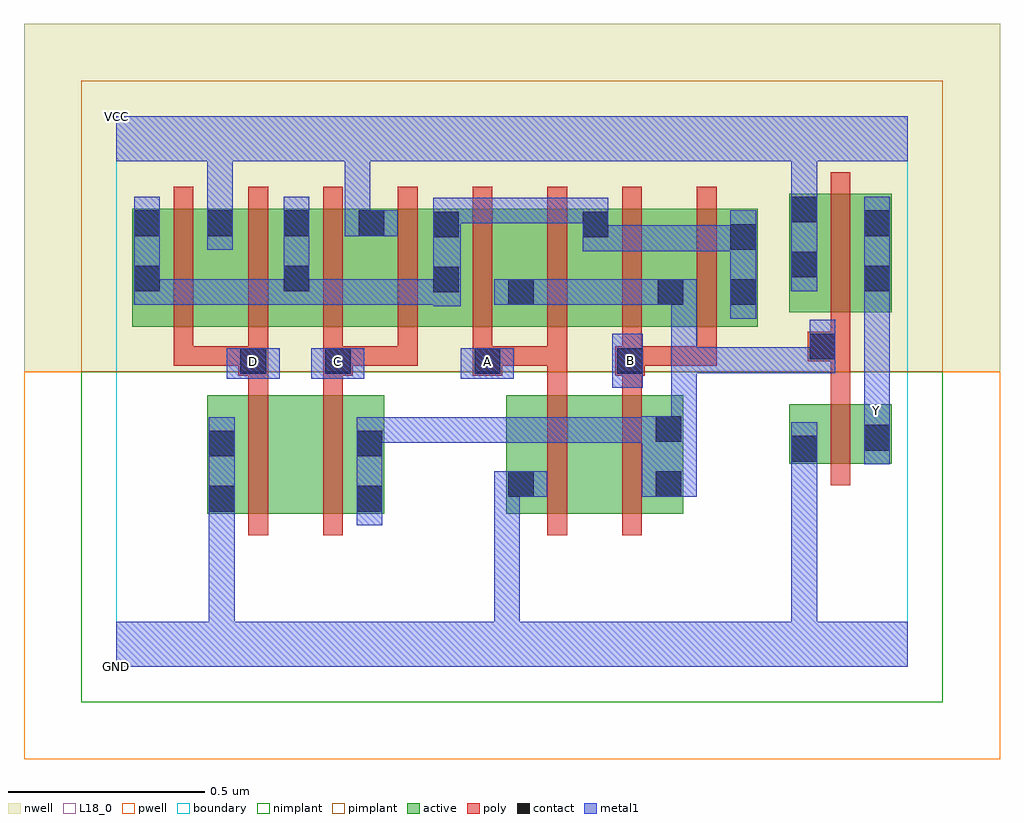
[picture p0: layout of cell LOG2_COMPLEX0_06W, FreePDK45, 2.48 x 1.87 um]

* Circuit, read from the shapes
.subckt LOG2_COMPLEX0_06W A B C D GND VCC Y
M1 n1 D GND VSUBS nfet w=0.3u l=0.05u
M2 n2 C n1 VSUBS nfet w=0.3u l=0.05u
M3 n3 A GND VSUBS nfet w=0.3u l=0.05u
M4 n2 B n3 VSUBS nfet w=0.3u l=0.05u
M5 Y n2 GND VSUBS nfet w=0.15u l=0.05u
M6 VCC D n4 n5 pfet w=0.3u l=0.05u m=2
M7 VCC C n4 n5 pfet w=0.3u l=0.05u m=2
M8 n2 A n4 n5 pfet w=0.3u l=0.05u m=2
M9 n2 B n4 n5 pfet w=0.3u l=0.05u m=2
M10 Y n2 VCC n5 pfet w=0.3u l=0.05u
.ends

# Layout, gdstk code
import gdstk
lib = gdstk.Library(unit=1e-6, precision=1e-09)
def R(c, l, rs):  # rectangles x0, y0, x1, y1
    for r in rs: c.add(gdstk.rectangle(r[:2], r[2:], *l))
def A(c, l, x, y, w, h, nx, ny, dx, dy):  # array of equal rectangles
    R(c, l, [(x+i*dx, y+j*dy, x+i*dx+w, y+j*dy+h) for i in range(nx) for j in range(ny)])
active = (1, 0)
pwell = (2, 0)
nwell = (3, 0)
nimplant = (4, 0)
pimplant = (5, 0)
poly = (9, 0)
contact = (10, 0)
metal1 = (11, 0)
L18_0 = (18, 0)
boundary = (235, 0)

log2_complex0_06w = lib.new_cell('LOG2_COMPLEX0_06W')
A(log2_complex0_06w, active, 0.42, 0.865, 0.265, 0.3, 5, 1, 0.19, 0)
R(log2_complex0_06w, active, [(0.23,0.39,0.455,0.69), (0.23,0.39,0.305,0.69), (0.455,0.39,0.68,0.69), (0.605,0.39,0.68,0.69), (0.99,0.39,1.215,0.69), (0.99,0.39,1.065,0.69), (1.215,0.39,1.44,0.69), (1.365,0.395,1.44,0.69), (1.71,0.517,1.97,0.667), (1.71,0.517,1.785,0.667), (1.895,0.545,1.97,0.667), (0.04,0.865,0.115,1.165), (0.04,0.865,0.3,1.165), (0.225,0.865,0.495,1.165), (1.37,0.865,1.63,1.165), (1.555,0.865,1.63,1.132), (1.71,0.902,1.785,1.202), (1.71,0.902,1.97,1.202), (1.895,0.902,1.97,1.165), (0.99,0.915,1.065,1.07), (1.37,0.915,1.445,1.07), (0.8,0.947,0.875,1.162), (0.42,0.95,0.495,1.165), (0.225,0.995,0.3,1.165), (0.61,0.995,0.685,1.165), (1.18,0.995,1.255,1.162)])
R(log2_complex0_06w, pwell, [(-0.235,-0.235,2.245,0.75)])
R(log2_complex0_06w, nwell, [(-0.235,0.75,2.245,1.635)])
R(log2_complex0_06w, nimplant, [(-0.09,-0.09,2.1,0.75)])
R(log2_complex0_06w, pimplant, [(-0.09,0.75,2.1,1.49)])
A(log2_complex0_06w, poly, 0.145, 0.765, 0.05, 0.095, 8, 1, 0.19, 0)
A(log2_complex0_06w, poly, 0.145, 0.81, 0.05, 0.41, 8, 1, 0.19, 0)
R(log2_complex0_06w, poly, [(0.335,0.335,0.385,0.745), (0.525,0.335,0.575,0.745), (1.095,0.335,1.145,0.745), (1.285,0.335,1.335,0.745), (1.815,0.462,1.865,0.722), (1.815,0.672,1.865,0.827), (0.335,0.695,0.385,0.79), (0.525,0.695,0.575,0.79), (1.095,0.695,1.145,0.815), (1.285,0.695,1.335,0.79), (0.31,0.74,0.385,0.815), (0.525,0.74,0.6,0.815), (0.905,0.74,0.98,0.815), (1.267,0.74,1.342,0.815), (0.145,0.765,0.195,0.815), (0.145,0.765,0.36,0.815), (0.31,0.765,0.36,0.815), (0.31,0.765,0.36,0.815), (0.55,0.765,0.765,0.815), (0.715,0.765,0.765,0.815), (0.715,0.765,0.765,0.815), (0.715,0.765,0.765,0.815), (0.93,0.765,1.145,0.815), (1.095,0.765,1.145,0.815), (1.095,0.765,1.145,0.815), (1.095,0.765,1.145,0.815), (1.292,0.765,1.525,0.815), (1.475,0.765,1.525,0.815), (1.475,0.765,1.525,0.815), (1.475,0.765,1.525,0.815), (1.757,0.777,1.865,0.852), (1.815,0.802,1.865,0.897), (1.815,0.847,1.865,1.257)])
R(log2_complex0_06w, contact, [(0.235,0.395,0.3,0.46), (0.61,0.395,0.675,0.46), (0.995,0.432,1.06,0.497), (1.37,0.432,1.435,0.497), (1.715,0.522,1.78,0.587), (0.235,0.535,0.3,0.6), (0.61,0.535,0.675,0.6), (1.9,0.55,1.965,0.615), (1.37,0.572,1.435,0.637), (0.315,0.745,0.38,0.81), (0.53,0.745,0.595,0.81), (0.91,0.745,0.975,0.81), (1.272,0.745,1.337,0.81), (1.762,0.782,1.827,0.847), (0.995,0.92,1.06,0.985), (1.375,0.92,1.44,0.985), (1.56,0.92,1.625,0.985), (0.805,0.952,0.87,1.017), (0.045,0.955,0.11,1.02), (0.425,0.955,0.49,1.02), (1.9,0.955,1.965,1.02), (1.715,0.99,1.78,1.055), (1.56,1.06,1.625,1.125), (0.805,1.092,0.87,1.157), (1.185,1.092,1.25,1.157), (0.045,1.095,0.11,1.16), (0.23,1.095,0.295,1.16), (0.425,1.095,0.49,1.16), (0.615,1.095,0.68,1.16), (1.9,1.095,1.965,1.16), (1.715,1.13,1.78,1.195)])
R(log2_complex0_06w, metal1, [(0,0,2.01,0.115), (0.235,0.05,0.3,0.115), (0.235,0.05,0.3,0.115), (0.235,0.05,0.3,0.115), (0.235,0.05,0.3,0.115), (0.235,0.05,0.3,0.425), (0.96,0.05,1.025,0.115), (0.96,0.05,1.025,0.115), (0.96,0.05,1.025,0.115), (0.96,0.05,1.025,0.115), (0.96,0.05,1.025,0.497), (1.715,0.05,1.78,0.115), (1.715,0.05,1.78,0.115), (1.715,0.05,1.78,0.115), (1.715,0.05,1.78,0.115), (1.715,0.05,1.78,0.115), (1.715,0.05,1.78,0.115), (1.715,0.05,1.78,0.552), (0.235,0.36,0.3,0.635), (0.61,0.36,0.675,0.635), (0.96,0.432,1.095,0.497), (1.335,0.432,1.475,0.637), (1.715,0.487,1.78,0.622), (1.9,0.515,1.965,0.65), (0.61,0.57,0.675,0.635), (0.61,0.57,0.675,0.635), (0.61,0.57,0.865,0.635), (0.8,0.57,0.865,0.635), (0.8,0.57,0.865,0.635), (0.8,0.57,0.865,0.635), (0.8,0.57,1.012,0.635), (0.947,0.57,1.012,0.635), (0.947,0.57,1.012,0.635), (0.947,0.57,1.012,0.635), (0.947,0.57,1.262,0.635), (1.197,0.57,1.262,0.635), (1.197,0.57,1.4,0.635), (1.335,0.57,1.4,0.635), (1.335,0.57,1.4,0.635), (1.41,0.572,1.475,0.812), (1.9,0.585,1.965,0.65), (1.9,0.585,1.965,0.72), (1.9,0.655,1.965,0.985), (1.26,0.71,1.337,0.847), (0.28,0.732,0.415,0.81), (0.495,0.732,0.63,0.81), (0.875,0.732,1.01,0.81), (1.41,0.747,1.475,0.812), (1.41,0.747,1.552,0.812), (1.41,0.747,1.475,0.985), (1.487,0.747,1.552,0.812), (1.487,0.747,1.69,0.812), (1.625,0.747,1.69,0.812), (1.625,0.747,1.69,0.812), (1.625,0.747,1.69,0.812), (1.625,0.747,1.827,0.812), (1.762,0.747,1.827,0.882), (1.56,0.885,1.625,1.16), (0.805,0.917,0.875,1.192), (0.045,0.92,0.11,1.195), (0.045,0.92,0.11,0.985), (0.045,0.92,0.11,0.985), (0.045,0.92,0.352,0.985), (0.287,0.92,0.352,0.985), (0.287,0.92,0.352,0.985), (0.287,0.92,0.352,0.985), (0.287,0.92,0.49,0.985), (0.425,0.92,0.49,1.195), (0.425,0.92,0.49,0.985), (0.425,0.92,0.49,0.985), (0.425,0.92,0.727,0.985), (0.662,0.92,0.727,0.985), (0.662,0.92,0.727,0.985), (0.662,0.92,0.727,0.985), (0.662,0.92,0.87,0.985), (0.96,0.92,1.095,0.985), (1.03,0.92,1.095,0.985), (1.03,0.92,1.095,0.985), (1.03,0.92,1.262,0.985), (1.197,0.92,1.262,0.985), (1.197,0.92,1.262,0.985), (1.197,0.92,1.262,0.985), (1.197,0.92,1.405,0.985), (1.34,0.92,1.475,0.985), (1.9,0.92,1.965,1.195), (1.715,0.955,1.78,1.23), (1.185,1.057,1.25,1.122), (1.185,1.057,1.25,1.122), (1.185,1.057,1.25,1.192), (1.185,1.057,1.487,1.122), (1.422,1.057,1.487,1.122), (1.422,1.057,1.552,1.122), (1.487,1.057,1.552,1.122), (1.487,1.057,1.625,1.122), (0.23,1.06,0.295,1.195), (0.58,1.095,0.715,1.16), (0.58,1.095,0.645,1.35), (0.81,1.127,0.875,1.192), (0.81,1.127,0.875,1.192), (0.81,1.127,0.875,1.192), (0.81,1.127,0.875,1.192), (0.81,1.127,1.022,1.192), (0.957,1.127,1.022,1.192), (0.957,1.127,1.022,1.192), (0.957,1.127,1.022,1.192), (0.957,1.127,1.25,1.192), (0.23,1.13,0.295,1.35), (1.715,1.165,1.78,1.35), (0,1.285,2.01,1.4), (0.23,1.285,0.295,1.35), (0.23,1.285,0.295,1.35), (0.58,1.285,0.645,1.35), (0.58,1.285,0.645,1.35), (1.715,1.285,1.78,1.35), (1.715,1.285,1.78,1.35)])
R(log2_complex0_06w, L18_0, [(0,0,2.01,0.115), (0.235,0.05,0.3,0.115), (0.235,0.05,0.3,0.115), (0.235,0.05,0.3,0.115), (0.235,0.05,0.3,0.115), (0.235,0.05,0.3,0.425), (0.96,0.05,1.025,0.115), (0.96,0.05,1.025,0.115), (0.96,0.05,1.025,0.115), (0.96,0.05,1.025,0.115), (0.96,0.05,1.025,0.497), (1.715,0.05,1.78,0.115), (1.715,0.05,1.78,0.115), (1.715,0.05,1.78,0.115), (1.715,0.05,1.78,0.115), (1.715,0.05,1.78,0.115), (1.715,0.05,1.78,0.115), (1.715,0.05,1.78,0.552), (0.235,0.36,0.3,0.635), (0.96,0.432,1.095,0.497), (1.715,0.487,1.78,0.622), (1.9,0.515,1.965,0.65), (1.9,0.585,1.965,0.65), (1.9,0.585,1.965,0.72), (1.9,0.62,1.965,0.685), (1.9,0.655,1.965,0.985), (1.26,0.71,1.337,0.847), (0.28,0.732,0.415,0.81), (0.495,0.732,0.63,0.81), (0.875,0.732,1.01,0.81), (0.315,0.745,0.38,0.81), (0.53,0.745,0.595,0.81), (0.91,0.745,0.975,0.81), (1.272,0.747,1.337,0.812), (1.9,0.92,1.965,1.195), (1.715,0.955,1.78,1.23), (0.23,1.06,0.295,1.195), (0.58,1.095,0.715,1.16), (0.58,1.095,0.645,1.35), (0.23,1.13,0.295,1.35), (1.715,1.165,1.78,1.35), (0,1.285,2.01,1.4), (0.23,1.285,0.295,1.35), (0.23,1.285,0.295,1.35), (0.58,1.285,0.645,1.35), (0.58,1.285,0.645,1.35), (1.715,1.285,1.78,1.35), (1.715,1.285,1.78,1.35)])
R(log2_complex0_06w, boundary, [(0,0,2.01,1.4)])
log2_complex0_06w.add(gdstk.Label('A', (0.942,0.777), layer=11, texttype=0))
log2_complex0_06w.add(gdstk.Label('B', (1.305,0.78), layer=11, texttype=0))
log2_complex0_06w.add(gdstk.Label('C', (0.562,0.777), layer=11, texttype=0))
log2_complex0_06w.add(gdstk.Label('D', (0.347,0.777), layer=11, texttype=0))
log2_complex0_06w.add(gdstk.Label('Y', (1.932,0.652), layer=11, texttype=0))
log2_complex0_06w.add(gdstk.Label('VCC', (0,1.4), layer=11, texttype=0))
log2_complex0_06w.add(gdstk.Label('GND', (0,0), layer=11, texttype=0))

lib.write_gds('LOG2_COMPLEX0_06W.gds')
